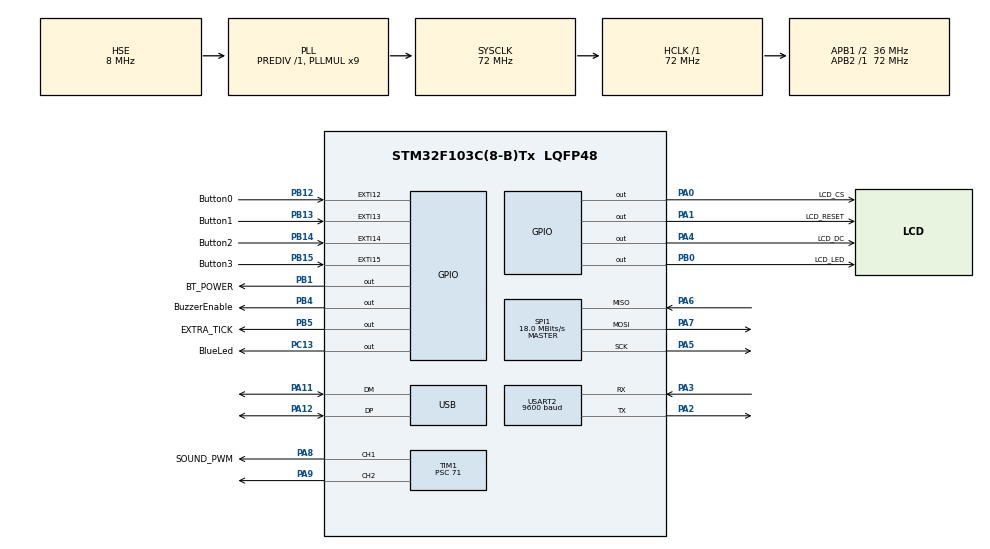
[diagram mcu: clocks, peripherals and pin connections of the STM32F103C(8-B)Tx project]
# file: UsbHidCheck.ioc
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Mcu.Family=STM32F1
Mcu.Name=STM32F103C(8-B)Tx
Mcu.Package=LQFP48
NVIC.EXTI15_10_IRQn=true\:0\:0\:false\:false\:true\:true\:true
NVIC.PriorityGroup=NVIC_PRIORITYGROUP_4
NVIC.USART2_IRQn=true\:0\:0\:false\:false\:true\:true\:true
NVIC.USB_LP_CAN1_RX0_IRQn=true\:0\:0\:false\:false\:true\:false\:true
PA0-WKUP.GPIO_Label=LCD_CS
PA0-WKUP.Signal=GPIO_Output
PA1.GPIO_Label=LCD_RESET
PA1.Signal=GPIO_Output
PA11.Mode=Device
PA11.Signal=USB_DM
PA12.Mode=Device
PA12.Signal=USB_DP
PA2.Mode=Asynchronous
PA2.Signal=USART2_TX
PA3.Mode=Asynchronous
PA3.Signal=USART2_RX
PA4.GPIO_Label=LCD_DC
PA4.Signal=GPIO_Output
PA5.Mode=Full_Duplex_Master
PA5.Signal=SPI1_SCK
PA6.Mode=Full_Duplex_Master
PA6.Signal=SPI1_MISO
PA7.Mode=Full_Duplex_Master
PA7.Signal=SPI1_MOSI
PA8.GPIO_Label=SOUND_PWM
PA8.Signal=S_TIM1_CH1
PA9.Signal=S_TIM1_CH2
PB0.GPIO_Label=LCD_LED
PB0.Signal=GPIO_Output
PB1.GPIO_Label=BT_POWER
PB1.GPIO_ModeDefaultOutputPP=GPIO_MODE_OUTPUT_OD
PB1.GPIO_PuPd=GPIO_PULLUP
PB1.Signal=GPIO_Output
PB12.GPIO_Label=Button0
PB12.GPIO_ModeDefaultEXTI=GPIO_MODE_IT_RISING_FALLING
PB12.GPIO_PuPd=GPIO_PULLUP
PB12.Signal=GPXTI12
PB13.GPIO_Label=Button1
PB13.GPIO_ModeDefaultEXTI=GPIO_MODE_IT_RISING_FALLING
PB13.GPIO_PuPd=GPIO_PULLUP
PB13.Signal=GPXTI13
PB14.GPIO_Label=Button2
PB14.GPIO_ModeDefaultEXTI=GPIO_MODE_IT_RISING_FALLING
PB14.GPIO_PuPd=GPIO_PULLUP
PB14.Signal=GPXTI14
PB15.GPIO_Label=Button3
PB15.GPIO_ModeDefaultEXTI=GPIO_MODE_IT_RISING_FALLING
PB15.GPIO_PuPd=GPIO_PULLUP
PB15.Signal=GPXTI15
PB4.GPIO_Label=BuzzerEnable
PB4.GPIO_ModeDefaultOutputPP=GPIO_MODE_OUTPUT_OD
PB4.GPIO_PuPd=GPIO_PULLUP
PB4.Signal=GPIO_Output
PB5.GPIO_Label=EXTRA_TICK
PB5.Signal=GPIO_Output
PC13-TAMPER-RTC.GPIO_Label=BlueLed
PC13-TAMPER-RTC.Signal=GPIO_Output
PD0-OSC_IN.Mode=HSE-External-Oscillator
PD0-OSC_IN.Signal=RCC_OSC_IN
PD1-OSC_OUT.Mode=HSE-External-Oscillator
PD1-OSC_OUT.Signal=RCC_OSC_OUT
ProjectManager.HeapSize=0x200
ProjectManager.StackSize=0x400
ProjectManager.TargetToolchain=STM32CubeIDE
RCC.AHBFreq_Value=72000000
RCC.APB1CLKDivider=RCC_HCLK_DIV2
RCC.APB1Freq_Value=36000000
RCC.APB1TimFreq_Value=72000000
RCC.APB2Freq_Value=72000000
RCC.APB2TimFreq_Value=72000000
RCC.HCLKFreq_Value=72000000
RCC.PLLMUL=RCC_PLL_MUL9
RCC.SYSCLKFreq_VALUE=72000000
RCC.SYSCLKSource=RCC_SYSCLKSOURCE_PLLCLK
RCC.USBFreq_Value=48000000
RCC.USBPrescaler=RCC_USBCLKSOURCE_PLL_DIV1_5
SH.S_TIM1_CH1.0=TIM1_CH1,PWM Generation1 CH1
SH.S_TIM1_CH2.0=TIM1_CH2,PWM Generation2 CH2
SPI1.BaudRatePrescaler=SPI_BAUDRATEPRESCALER_4
SPI1.CRCCalculation=SPI_CRCCALCULATION_DISABLE
SPI1.CalculateBaudRate=18.0 MBits/s
SPI1.Direction=SPI_DIRECTION_2LINES
SPI1.Mode=SPI_MODE_MASTER
SPI1.VirtualType=VM_MASTER
TIM1.Channel-PWM\ Generation1\ CH1=TIM_CHANNEL_1
TIM1.Channel-PWM\ Generation2\ CH2=TIM_CHANNEL_2
TIM1.ClockDivision=TIM_CLOCKDIVISION_DIV1
TIM1.Period=999
TIM1.Prescaler=71
TIM1.Pulse-PWM\ Generation1\ CH1=499
USART2.BaudRate=9600
USART2.VirtualMode=VM_ASYNC
USB_DEVICE.CLASS_NAME_FS=CUSTOM_HID
USB_DEVICE.CONFIGURATION_STRING_CUSTOMHID_FS=My Custom Config
USB_DEVICE.MANUFACTURER_STRING=DiMomite
USB_DEVICE.PID_CUSTOMHID_FS=0x5750
USB_DEVICE.PRODUCT_STRING_CUSTOMHID_FS=SUper custom device
USB_DEVICE.USBD_CUSTOMHID_OUTREPORT_BUF_SIZE=4
USB_DEVICE.USBD_CUSTOM_HID_REPORT_DESC_SIZE=34
USB_DEVICE.USBD_SELF_POWERED=0
USB_DEVICE.VID=0x483
USB_DEVICE.VirtualMode=CustomHid
USB_DEVICE.VirtualModeFS=Custom_Hid_FS
VP_SYS_VS_ND.Mode=No_Debug
VP_TIM1_VS_ClockSourceINT.Mode=Internal
VP_USB_DEVICE_VS_USB_DEVICE_CUSTOM_HID_FS.Mode=CUSTOM_HID_FS
board=custom

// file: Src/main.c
/* USER CODE BEGIN Header */
/**
  ******************************************************************************
  * @file           : main.c
  * @brief          : Main program body
  ******************************************************************************
  * @attention
  *
  * <h2><center>&copy; Copyright (c) 2019 STMicroelectronics.
  * All rights reserved.</center></h2>
  *
  * This software component is licensed by ST under BSD 3-Clause license,
  * the "License"; You may not use this file except in compliance with the
  * License. You may obtain a copy of the License at:
  *                        opensource.org/licenses/BSD-3-Clause
  *
  ******************************************************************************
  */
/* USER CODE END Header */

#include "main.h"
#include "usb_device.h"

/* USER CODE BEGIN Includes */
#include "lcdctrl.h"
#include "playersledsctrl.h"
#include "entertainmentctrl.h"
#include "btctrl.h"

/* USER CODE END Includes */

SPI_HandleTypeDef hspi1;

TIM_HandleTypeDef htim1;

UART_HandleTypeDef huart2;

/* USER CODE BEGIN PV */

LcdCtrl mainLcdCtrl;
PlayerLedsCtrl playerLedsCtrl;
EntertainmentCtrl entCtrl;
BtCtrl btCtrl;

/* USER CODE END PV */

void SystemClock_Config(void);
static void MX_GPIO_Init(void);
static void MX_SPI1_Init(void);
static void MX_TIM1_Init(void);
static void MX_USART2_UART_Init(void);
/* USER CODE BEGIN PFP */

static void sendPlayerLeds(uint8_t data); // TODO move from main to MainCtrl later

/* USER CODE END PFP */

int main(void)
{

  /* MCU Configuration--------------------------------------------------------*/

  /* Reset of all peripherals, Initializes the Flash interface and the Systick. */
  HAL_Init();

  /* Configure the system clock */
  SystemClock_Config();

  /* Initialize all configured peripherals */
  MX_GPIO_Init();
  MX_USB_DEVICE_Init();
  MX_SPI1_Init();
  MX_TIM1_Init();
  MX_USART2_UART_Init();
  /* USER CODE BEGIN 2 */

  PlayerLeds_Init(&playerLedsCtrl, &sendPlayerLeds);

  ENT_Init(&entCtrl);
  ENT_EnableSound(&entCtrl);

  LCD_Init(&mainLcdCtrl);
  LCD_FillScreen(&mainLcdCtrl, LCD_COLOR_WHITE);

  BT_Init(&btCtrl);
  BT_EnableBt(&btCtrl);

  /* USER CODE END 2 */

  /* Infinite loop */
  while (1)
  {

  }
}

void SystemClock_Config(void)
{
  RCC_OscInitTypeDef RCC_OscInitStruct = {0};
  RCC_ClkInitTypeDef RCC_ClkInitStruct = {0};
  RCC_PeriphCLKInitTypeDef PeriphClkInit = {0};

  /** Initializes the CPU, AHB and APB busses clocks
  */
  RCC_OscInitStruct.OscillatorType = RCC_OSCILLATORTYPE_HSE;
  RCC_OscInitStruct.HSEState = RCC_HSE_ON;
  RCC_OscInitStruct.HSEPredivValue = RCC_HSE_PREDIV_DIV1;
  RCC_OscInitStruct.HSIState = RCC_HSI_ON;
  RCC_OscInitStruct.PLL.PLLState = RCC_PLL_ON;
  RCC_OscInitStruct.PLL.PLLSource = RCC_PLLSOURCE_HSE;
  RCC_OscInitStruct.PLL.PLLMUL = RCC_PLL_MUL9;
  if (HAL_RCC_OscConfig(&RCC_OscInitStruct) != HAL_OK)
  {
    Error_Handler();
  }
  /** Initializes the CPU, AHB and APB busses clocks
  */
  RCC_ClkInitStruct.ClockType = RCC_CLOCKTYPE_HCLK|RCC_CLOCKTYPE_SYSCLK
                              |RCC_CLOCKTYPE_PCLK1|RCC_CLOCKTYPE_PCLK2;
  RCC_ClkInitStruct.SYSCLKSource = RCC_SYSCLKSOURCE_PLLCLK;
  RCC_ClkInitStruct.AHBCLKDivider = RCC_SYSCLK_DIV1;
  RCC_ClkInitStruct.APB1CLKDivider = RCC_HCLK_DIV2;
  RCC_ClkInitStruct.APB2CLKDivider = RCC_HCLK_DIV1;

  if (HAL_RCC_ClockConfig(&RCC_ClkInitStruct, FLASH_LATENCY_2) != HAL_OK)
  {
    Error_Handler();
  }
  PeriphClkInit.PeriphClockSelection = RCC_PERIPHCLK_USB;
  PeriphClkInit.UsbClockSelection = RCC_USBCLKSOURCE_PLL_DIV1_5;
  if (HAL_RCCEx_PeriphCLKConfig(&PeriphClkInit) != HAL_OK)
  {
    Error_Handler();
  }
}

static void MX_SPI1_Init(void)
{

  /* SPI1 parameter configuration*/
  hspi1.Instance = SPI1;
  hspi1.Init.Mode = SPI_MODE_MASTER;
  hspi1.Init.Direction = SPI_DIRECTION_2LINES;
  hspi1.Init.DataSize = SPI_DATASIZE_8BIT;
  hspi1.Init.CLKPolarity = SPI_POLARITY_LOW;
  hspi1.Init.CLKPhase = SPI_PHASE_1EDGE;
  hspi1.Init.NSS = SPI_NSS_SOFT;
  hspi1.Init.BaudRatePrescaler = SPI_BAUDRATEPRESCALER_4;
  hspi1.Init.FirstBit = SPI_FIRSTBIT_MSB;
  hspi1.Init.TIMode = SPI_TIMODE_DISABLE;
  hspi1.Init.CRCCalculation = SPI_CRCCALCULATION_DISABLE;
  hspi1.Init.CRCPolynomial = 10;
  if (HAL_SPI_Init(&hspi1) != HAL_OK)
  {
    Error_Handler();
  }

}

static void MX_TIM1_Init(void)
{

  TIM_ClockConfigTypeDef sClockSourceConfig = {0};
  TIM_MasterConfigTypeDef sMasterConfig = {0};
  TIM_OC_InitTypeDef sConfigOC = {0};
  TIM_BreakDeadTimeConfigTypeDef sBreakDeadTimeConfig = {0};

  htim1.Instance = TIM1;
  htim1.Init.Prescaler = 71;
  htim1.Init.CounterMode = TIM_COUNTERMODE_UP;
  htim1.Init.Period = 999;
  htim1.Init.ClockDivision = TIM_CLOCKDIVISION_DIV1;
  htim1.Init.RepetitionCounter = 0;
  htim1.Init.AutoReloadPreload = TIM_AUTORELOAD_PRELOAD_DISABLE;
  if (HAL_TIM_Base_Init(&htim1) != HAL_OK)
  {
    Error_Handler();
  }
  sClockSourceConfig.ClockSource = TIM_CLOCKSOURCE_INTERNAL;
  if (HAL_TIM_ConfigClockSource(&htim1, &sClockSourceConfig) != HAL_OK)
  {
    Error_Handler();
  }
  if (HAL_TIM_PWM_Init(&htim1) != HAL_OK)
  {
    Error_Handler();
  }
  sMasterConfig.MasterOutputTrigger = TIM_TRGO_RESET;
  sMasterConfig.MasterSlaveMode = TIM_MASTERSLAVEMODE_DISABLE;
  if (HAL_TIMEx_MasterConfigSynchronization(&htim1, &sMasterConfig) != HAL_OK)
  {
    Error_Handler();
  }
  sConfigOC.OCMode = TIM_OCMODE_PWM1;
  sConfigOC.Pulse = 499;
  sConfigOC.OCPolarity = TIM_OCPOLARITY_HIGH;
  sConfigOC.OCNPolarity = TIM_OCNPOLARITY_HIGH;
  sConfigOC.OCFastMode = TIM_OCFAST_DISABLE;
  sConfigOC.OCIdleState = TIM_OCIDLESTATE_RESET;
  sConfigOC.OCNIdleState = TIM_OCNIDLESTATE_RESET;
  if (HAL_TIM_PWM_ConfigChannel(&htim1, &sConfigOC, TIM_CHANNEL_1) != HAL_OK)
  {
    Error_Handler();
  }
  sConfigOC.Pulse = 0;
  if (HAL_TIM_PWM_ConfigChannel(&htim1, &sConfigOC, TIM_CHANNEL_2) != HAL_OK)
  {
    Error_Handler();
  }
  sBreakDeadTimeConfig.OffStateRunMode = TIM_OSSR_DISABLE;
  sBreakDeadTimeConfig.OffStateIDLEMode = TIM_OSSI_DISABLE;
  sBreakDeadTimeConfig.LockLevel = TIM_LOCKLEVEL_OFF;
  sBreakDeadTimeConfig.DeadTime = 0;
  sBreakDeadTimeConfig.BreakState = TIM_BREAK_DISABLE;
  sBreakDeadTimeConfig.BreakPolarity = TIM_BREAKPOLARITY_HIGH;
  sBreakDeadTimeConfig.AutomaticOutput = TIM_AUTOMATICOUTPUT_DISABLE;
  if (HAL_TIMEx_ConfigBreakDeadTime(&htim1, &sBreakDeadTimeConfig) != HAL_OK)
  {
    Error_Handler();
  }
  HAL_TIM_MspPostInit(&htim1);

}

static void MX_USART2_UART_Init(void)
{

  huart2.Instance = USART2;
  huart2.Init.BaudRate = 9600;
  huart2.Init.WordLength = UART_WORDLENGTH_8B;
  huart2.Init.StopBits = UART_STOPBITS_1;
  huart2.Init.Parity = UART_PARITY_NONE;
  huart2.Init.Mode = UART_MODE_TX_RX;
  huart2.Init.HwFlowCtl = UART_HWCONTROL_NONE;
  huart2.Init.OverSampling = UART_OVERSAMPLING_16;
  if (HAL_UART_Init(&huart2) != HAL_OK)
  {
    Error_Handler();
  }

}

static void MX_GPIO_Init(void)
{
  GPIO_InitTypeDef GPIO_InitStruct = {0};

  /* GPIO Ports Clock Enable */
  __HAL_RCC_GPIOC_CLK_ENABLE();
  __HAL_RCC_GPIOD_CLK_ENABLE();
  __HAL_RCC_GPIOA_CLK_ENABLE();
  __HAL_RCC_GPIOB_CLK_ENABLE();

  /*Configure GPIO pin Output Level */
  HAL_GPIO_WritePin(BlueLed_GPIO_Port, BlueLed_Pin, GPIO_PIN_RESET);

  /*Configure GPIO pin Output Level */
  HAL_GPIO_WritePin(GPIOA, LCD_CS_Pin|LCD_RESET_Pin|LCD_DC_Pin, GPIO_PIN_RESET);

  /*Configure GPIO pin Output Level */
  HAL_GPIO_WritePin(GPIOB, LCD_LED_Pin|BT_POWER_Pin|BuzzerEnable_Pin|EXTRA_TICK_Pin, GPIO_PIN_RESET);

  /*Configure GPIO pin : BlueLed_Pin */
  GPIO_InitStruct.Pin = BlueLed_Pin;
  GPIO_InitStruct.Mode = GPIO_MODE_OUTPUT_PP;
  GPIO_InitStruct.Pull = GPIO_NOPULL;
  GPIO_InitStruct.Speed = GPIO_SPEED_FREQ_LOW;
  HAL_GPIO_Init(BlueLed_GPIO_Port, &GPIO_InitStruct);

  /*Configure GPIO pins : LCD_CS_Pin LCD_RESET_Pin LCD_DC_Pin */
  GPIO_InitStruct.Pin = LCD_CS_Pin|LCD_RESET_Pin|LCD_DC_Pin;
  GPIO_InitStruct.Mode = GPIO_MODE_OUTPUT_PP;
  GPIO_InitStruct.Pull = GPIO_NOPULL;
  GPIO_InitStruct.Speed = GPIO_SPEED_FREQ_LOW;
  HAL_GPIO_Init(GPIOA, &GPIO_InitStruct);

  /*Configure GPIO pins : LCD_LED_Pin EXTRA_TICK_Pin */
  GPIO_InitStruct.Pin = LCD_LED_Pin|EXTRA_TICK_Pin;
  GPIO_InitStruct.Mode = GPIO_MODE_OUTPUT_PP;
  GPIO_InitStruct.Pull = GPIO_NOPULL;
  GPIO_InitStruct.Speed = GPIO_SPEED_FREQ_LOW;
  HAL_GPIO_Init(GPIOB, &GPIO_InitStruct);

  /*Configure GPIO pins : BT_POWER_Pin BuzzerEnable_Pin */
  GPIO_InitStruct.Pin = BT_POWER_Pin|BuzzerEnable_Pin;
  GPIO_InitStruct.Mode = GPIO_MODE_OUTPUT_OD;
  GPIO_InitStruct.Pull = GPIO_PULLUP;
  GPIO_InitStruct.Speed = GPIO_SPEED_FREQ_LOW;
  HAL_GPIO_Init(GPIOB, &GPIO_InitStruct);

  /*Configure GPIO pins : Button0_Pin Button1_Pin Button2_Pin Button3_Pin */
  GPIO_InitStruct.Pin = Button0_Pin|Button1_Pin|Button2_Pin|Button3_Pin;
  GPIO_InitStruct.Mode = GPIO_MODE_IT_RISING_FALLING;
  GPIO_InitStruct.Pull = GPIO_PULLUP;
  HAL_GPIO_Init(GPIOB, &GPIO_InitStruct);

  /* EXTI interrupt init*/
  HAL_NVIC_SetPriority(EXTI15_10_IRQn, 0, 0);
  HAL_NVIC_EnableIRQ(EXTI15_10_IRQn);

}

/* USER CODE BEGIN 4 */

static void sendPlayerLeds(uint8_t data) {
    HAL_GPIO_WritePin(EXTRA_TICK_GPIO_Port, EXTRA_TICK_Pin, GPIO_PIN_RESET);
//    LL_SPI_TransmitData8(SPI1, data);
    HAL_SPI_Transmit(&hspi1, &data, 1, 1);

    HAL_GPIO_WritePin(EXTRA_TICK_GPIO_Port, EXTRA_TICK_Pin, GPIO_PIN_SET);
    HAL_GPIO_WritePin(EXTRA_TICK_GPIO_Port, EXTRA_TICK_Pin, GPIO_PIN_RESET);
}

/* USER CODE END 4 */

void Error_Handler(void)
{
}

/************************ (C) COPYRIGHT STMicroelectronics *****END OF FILE****/
